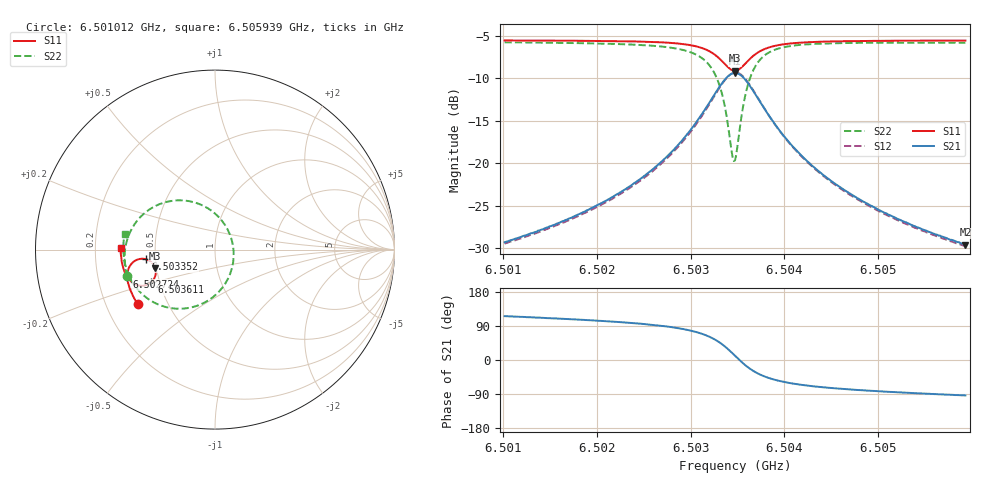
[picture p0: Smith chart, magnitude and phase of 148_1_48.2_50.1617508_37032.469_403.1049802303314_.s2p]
#  HZ  S  RI  R  50.00
! Rohde & Schwarz Vector Network Analyzer
! Rohde-Schwarz,ZNB20-2Port,1311601062101988,3.16
! Created: UTC 3/20/2024, 11:42:41 AM
! freq[Hz]  re:S11  im:S11  re:S21  im:S21  re:S12  im:S12  re:S22  im:S22
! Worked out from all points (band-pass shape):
!   401 points, 6.501012 GHz to 6.505939 GHz, reference 50 ohm
!   highest |S21| = -9.40 dB at 6.503476 GHz (marker M1); lowest = -29.6 dB at 6.505939 GHz (marker M2)
!   |S21| within 3 dB of the highest: 6.503229 GHz to 6.503721 GHz (492.4 kHz wide, 0.00757 % of centre)
!   lowest |S11| = -9.1 dB at 6.503476 GHz (marker M3), VSWR 2.07, Z = 24.6 - j5.83 ohm
!   |S11| at or under -10 dB: nowhere
!   |S22| runs from -19.8 to -5.8 dB; largest |S21 - S12| = 0.012
!   S11 on the Smith chart (normalised r, x): 6.501012 GHz: 0.34, -0.29; 6.502724 GHz: 0.33, -0.14; 6.503352 GHz: 0.44, -0.06; 6.503611 GHz: 0.45, -0.19; 6.505939 GHz: 0.31, +0.01
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6.501012e9  -0.429 -0.3052  -0.0148 0.0308  -0.0132 0.0309  -0.4918 -0.1479
6.5018373e9  -0.4641 -0.2435  -0.0141 0.0489  -0.0116 0.0485  -0.5041 -0.0589
6.5022807e9  -0.4795 -0.2039  -0.0112 0.0681  -0.00818 0.0671  -0.5004 0.00506
6.5026626e9  -0.4882 -0.1611  -0.00161 0.0989  0.002 0.0964  -0.4794 0.0829
6.5027242e9  -0.4888 -0.1528  0.00156 0.1061  0.00532 0.1034  -0.4724 0.099
6.5029459e9  -0.4853 -0.1178  0.0236 0.1414  0.0274 0.1372  -0.4263 0.17
6.503106e9  -0.4706 -0.0856  0.063 0.1775  0.0659 0.1715  -0.3494 0.2335
6.5032538e9  -0.433 -0.056  0.1449 0.2063  0.1457 0.1999  -0.2002 0.2747
6.5033524e9  -0.3865 -0.0531  0.2363 0.1896  0.2365 0.1847  -0.0417 0.2313
6.5034386e9  -0.3438 -0.0822  0.3146 0.1148  0.3169 0.1102  0.0831 0.0838
6.5034632e9  -0.3357 -0.0965  0.3279 0.083  0.3311 0.0777  0.1 0.0235
6.5034756e9  -0.333 -0.1043  0.3323 0.066  0.3355 0.0604  0.1035 -0.00786
6.5035002e9  -0.33 -0.1204  0.3356 0.0314  0.3393 0.0245  0.101 -0.0714
6.5035371e9  -0.3322 -0.1444  0.3281 -0.0188  0.3314 -0.0279  0.0734 -0.1603
6.5036111e9  -0.3545 -0.1813  0.2814 -0.0949  0.2809 -0.1065  -0.0373 -0.283
6.5037219e9  -0.4001 -0.2013  0.1944 -0.1401  0.1888 -0.1498  -0.2135 -0.3291
6.503882e9  -0.4472 -0.1917  0.1107 -0.1363  0.1035 -0.1414  -0.3644 -0.2802
6.5040545e9  -0.475 -0.1704  0.0652 -0.1153  0.0587 -0.1176  -0.4378 -0.2135
6.5043008e9  -0.496 -0.1404  0.0346 -0.0901  0.0296 -0.0906  -0.4819 -0.14
6.5046827e9  -0.5119 -0.1002  0.0148 -0.0657  0.0114 -0.0652  -0.5049 -0.0622
6.5051261e9  -0.5209 -0.0589  0.00504 -0.0493  0.00283 -0.0485  -0.5106 0.00161
6.5059391e9  -0.526 0.0102  -0.0021 -0.033  -0.00342 -0.0323  -0.5032 0.089
